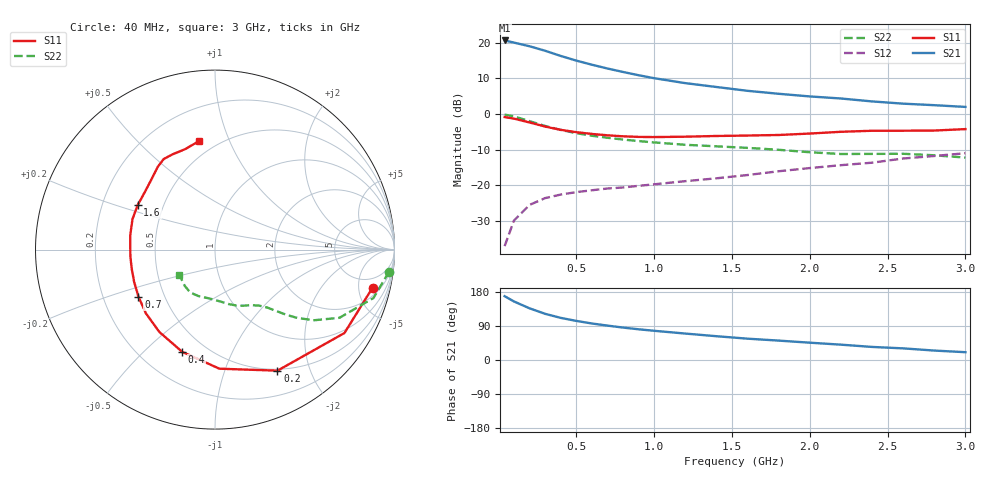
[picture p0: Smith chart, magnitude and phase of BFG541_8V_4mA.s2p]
! Filename:  BFG541G.S2P  Version:  3.0
! Philips part #: BFG541  Date: Feb 1992
! Bias condition: Vce=8V, Ic=4mA
#  MHz  S  MA  R  50
! Freq  S11  S21  S12  S22  !GUM [dB]
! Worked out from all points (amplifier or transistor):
!   21 points, 40 MHz to 3 GHz, reference 50 ohm
!   highest |S21| = 20.6 dB at 40 MHz (marker M1)
!   |S21| within 3 dB of that: start of sweep to 308.1 MHz
!   unconditionally stable (mu >= 1): 1.052 GHz to end of sweep
!   at 300 MHz: K = 0.35, MSG = 20.7 dB, |S12| = -23.6 dB
!   at 1 GHz: K = 0.98, MSG = 14.9 dB, |S12| = -19.7 dB
!   at 3 GHz: K = 1.09, MAG = 4.7 dB, |S12| = -11.0 dB
!   S11 on the Smith chart (normalised r, x): 40 MHz: 3.07, -7.07; 200 MHz: 0.48, -1.53; 400 MHz: 0.37, -0.66; 700 MHz: 0.36, -0.25; 1.6 GHz: 0.36, +0.23; 3 GHz: 0.40, +0.78
40  0.903 -13.6  10.69 168.4  0.014 81.9  0.978 -7.2
100  0.858 -32.8  9.976 154.5  0.032 71.0  0.923 -17.0
200  0.759 -62.7  8.866 136.4  0.053 58.5  0.791 -28.7
300  0.664 -87.9  7.67 121.9  0.066 51.0  0.678 -35.5
400  0.598 -107.8  6.49 111.2  0.074 47.2  0.596 -39.7
500  0.554 -124.0  5.583 103.2  0.08 45.6  0.537 -42.5
600  0.524 -137.2  4.89 96.4  0.085 45.2  0.494 -44.5
700  0.501 -148.3  4.327 90.8  0.09 45.5  0.463 -46.2
800  0.485 -158.3  3.871 85.6  0.093 46.3  0.437 -47.8
900  0.476 -167.2  3.483 81.1  0.098 47.8  0.416 -49.7
1000  0.473 -175.6  3.165 77.1  0.103 49.1  0.398 -51.7
1200  0.479 170.5  2.698 69.8  0.114 51.6  0.369 -56.9
1400  0.49 159.7  2.382 62.8  0.125 53.7  0.351 -62.9
1600  0.497 150.1  2.105 56.3  0.139 56.7  0.334 -69.0
1800  0.506 140.4  1.913 51.2  0.157 57.2  0.314 -75.5
2000  0.53 131.5  1.756 45.7  0.174 58.4  0.29 -84.5
2200  0.561 124.6  1.643 40.5  0.191 58.3  0.274 -96.8
2400  0.58 119.5  1.495 34.5  0.207 59.1  0.275 -109.5
2600  0.581 114.0  1.391 30.7  0.237 57.5  0.276 -120.0
2800  0.584 106.4  1.324 24.9  0.257 54.8  0.263 -129.9
3000  0.612 98.2  1.252 20.6  0.281 54.2  0.244 -144.4
